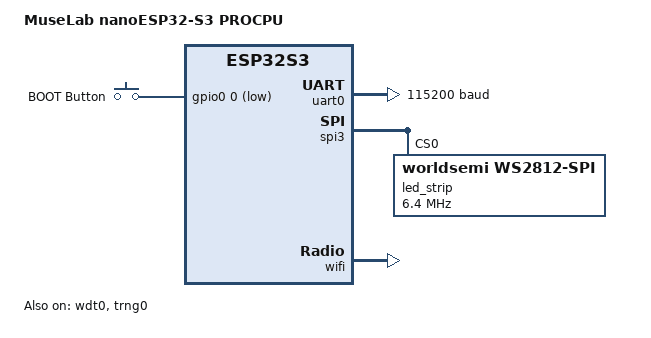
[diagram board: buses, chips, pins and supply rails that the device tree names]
/*
 * Copyright (c) 2026 MuseLab nanoESP32-S3 Zephyr port
 * SPDX-License-Identifier: Apache-2.0
 *
 * MuseLab nanoESP32-S3 (ESP32-S3-WROOM-1-N8R8, 8MB flash + 8MB octal PSRAM)
 * - WS2812B RGB LED on GPIO48
 * - BOOT button on GPIO0
 * - UART0 (GPIO43/44) connected to on-board ESPLink USB-to-serial
 */
/dts-v1/;

#include <espressif/esp32s3/esp32s3_wroom_n8r8.dtsi>
#include <espressif/partitions_0x0_amp_8M.dtsi>
#include <zephyr/dt-bindings/input/input-event-codes.h>
#include <zephyr/dt-bindings/led/led.h>
#include "nano_esp32s3-pinctrl.dtsi"

/ {
	model = "MuseLab nanoESP32-S3 PROCPU";
	compatible = "muselab,nano-esp32s3";

	aliases {
		uart-0 = &uart0;
		watchdog0 = &wdt0;
		led-strip = &led_strip;
		sw0 = &button0;
	};

	chosen {
		zephyr,sram = &sram1;
		zephyr,console = &uart0;
		zephyr,shell-uart = &uart0;
		zephyr,flash = &flash0;
		zephyr,code-partition = &slot0_partition;
	};

	buttons {
		compatible = "gpio-keys";

		button0: button_0 {
			gpios = <&gpio0 0 (GPIO_PULL_UP | GPIO_ACTIVE_LOW)>;
			label = "BOOT Button";
			zephyr,code = <INPUT_KEY_0>;
		};
	};
};

&uart0 {
	status = "okay";
	current-speed = <115200>;
	pinctrl-0 = <&uart0_default>;
	pinctrl-names = "default";
};

&gpio0 {
	status = "okay";
};

&gpio1 {
	status = "okay";
};

&spi3 {
	#address-cells = <1>;
	#size-cells = <0>;
	status = "okay";
	pinctrl-0 = <&spim3_default>;
	pinctrl-names = "default";

	/* Workaround to support WS2812 driver */
	line-idle-low;

	led_strip: ws2812@0 {
		compatible = "worldsemi,ws2812-spi";

		/* SPI */
		reg = <0>; /* ignored, but necessary for SPI bindings */
		spi-max-frequency = <6400000>;

		/* WS2812B */
		chain-length = <1>;
		spi-cpha;
		spi-one-frame = <0xf0>;  /* 625 ns high and 625 ns low */
		spi-zero-frame = <0xc0>; /* 312.5 ns high and 937.5 ns low */
		color-mapping = <LED_COLOR_ID_GREEN
				 LED_COLOR_ID_RED
				 LED_COLOR_ID_BLUE>;
	};
};

&wdt0 {
	status = "okay";
};

&trng0 {
	status = "okay";
};

&wifi {
	status = "okay";
};
